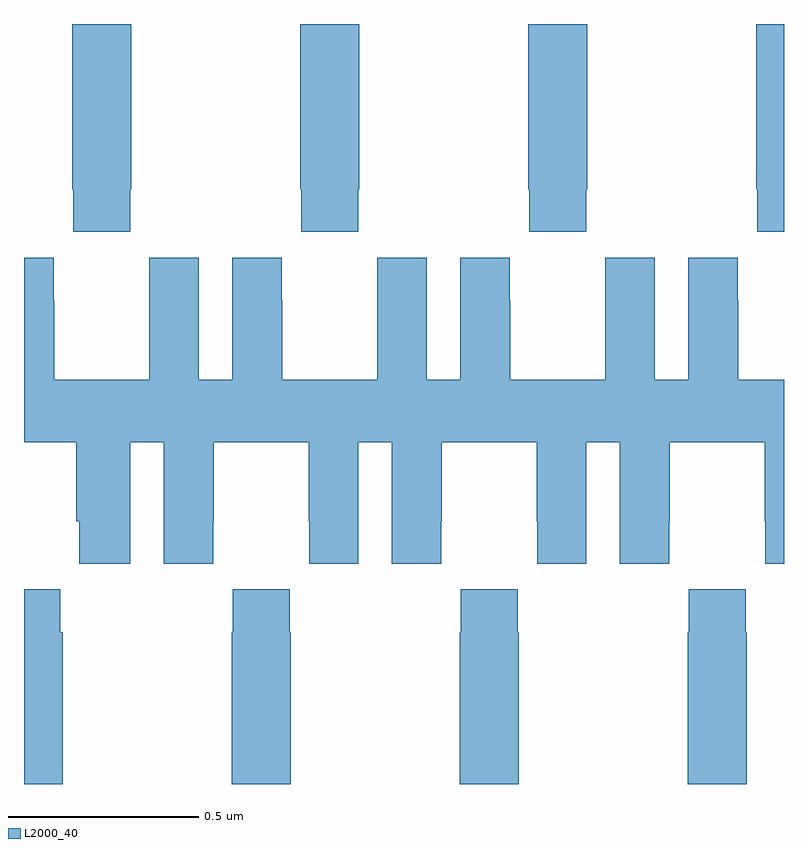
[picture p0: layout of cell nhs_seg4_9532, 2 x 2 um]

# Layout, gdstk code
import gdstk
lib = gdstk.Library(unit=1e-6, precision=1e-09)
def P(c, l, *ps):  # polygons
    for p in ps: c.add(gdstk.Polygon(p, *l))
L2000_40 = (2000, 40)

nhs_seg4_9532 = lib.new_cell('nhs_seg4_9532')
P(nhs_seg4_9532, L2000_40, [(228.879,817.465),(228.882,817.465),(228.882,817.9),(228.727,817.9),(228.727,817.465),(228.729,817.465),(228.729,817.353),(228.879,817.353)],
  [(229.479,817.465),(229.482,817.465),(229.482,817.9),(229.327,817.9),(229.327,817.465),(229.329,817.465),(229.329,817.353),(229.479,817.353)],
  [(230,817.9),(229.927,817.9),(229.927,817.465),(229.929,817.465),(229.929,817.353),(230,817.353)],
  [(228.279,817.465),(228.282,817.465),(228.282,817.9),(228.127,817.9),(228.127,817.465),(228.129,817.465),(228.129,817.353),(228.279,817.353)],
  [(229.879,817.172),(229.878,817.172),(229.878,817.285),(229.748,817.285),(229.748,816.964),(229.66,816.964),(229.66,817.285),(229.53,817.285),(229.53,817.172),(229.529,817.172),(229.529,816.964),(229.279,816.964),(229.279,817.172),(229.278,817.172),(229.278,817.285),(229.148,817.285),(229.148,816.964),(229.06,816.964),(229.06,817.285),(228.93,817.285),(228.93,817.172),(228.929,817.172),(228.929,816.964),(228.679,816.964),(228.679,817.172),(228.678,817.172),(228.678,817.285),(228.548,817.285),(228.548,816.964),(228.46,816.964),(228.46,817.285),(228.33,817.285),(228.33,817.172),(228.329,817.172),(228.329,816.964),(228.079,816.964),(228.079,817.172),(228.078,817.172),(228.078,817.285),(228,817.285),(228,816.8),(228.137,816.8),(228.137,816.592),(228.146,816.592),(228.146,816.48),(228.28,816.48),(228.28,816.8),(228.368,816.8),(228.368,816.48),(228.498,816.48),(228.498,816.592),(228.499,816.592),(228.499,816.8),(228.749,816.8),(228.749,816.592),(228.75,816.592),(228.75,816.48),(228.88,816.48),(228.88,816.8),(228.968,816.8),(228.968,816.48),(229.098,816.48),(229.098,816.592),(229.099,816.592),(229.099,816.8),(229.349,816.8),(229.349,816.592),(229.35,816.592),(229.35,816.48),(229.48,816.48),(229.48,816.8),(229.568,816.8),(229.568,816.48),(229.698,816.48),(229.698,816.592),(229.699,816.592),(229.699,816.8),(229.949,816.8),(229.949,816.592),(229.95,816.592),(229.95,816.48),(230,816.48),(230,816.964),(229.879,816.964)],
  [(228.102,816.299),(228.095,816.299),(228.095,816.412),(228,816.412),(228,815.9),(228.102,815.9)],
  [(228.702,816.299),(228.699,816.299),(228.699,816.412),(228.549,816.412),(228.549,816.299),(228.547,816.299),(228.547,815.9),(228.702,815.9)],
  [(229.302,816.299),(229.299,816.299),(229.299,816.412),(229.149,816.412),(229.149,816.299),(229.147,816.299),(229.147,815.9),(229.302,815.9)],
  [(229.902,816.299),(229.899,816.299),(229.899,816.412),(229.749,816.412),(229.749,816.299),(229.747,816.299),(229.747,815.9),(229.902,815.9)])

lib.write_gds('nhs_seg4_9532.gds')
